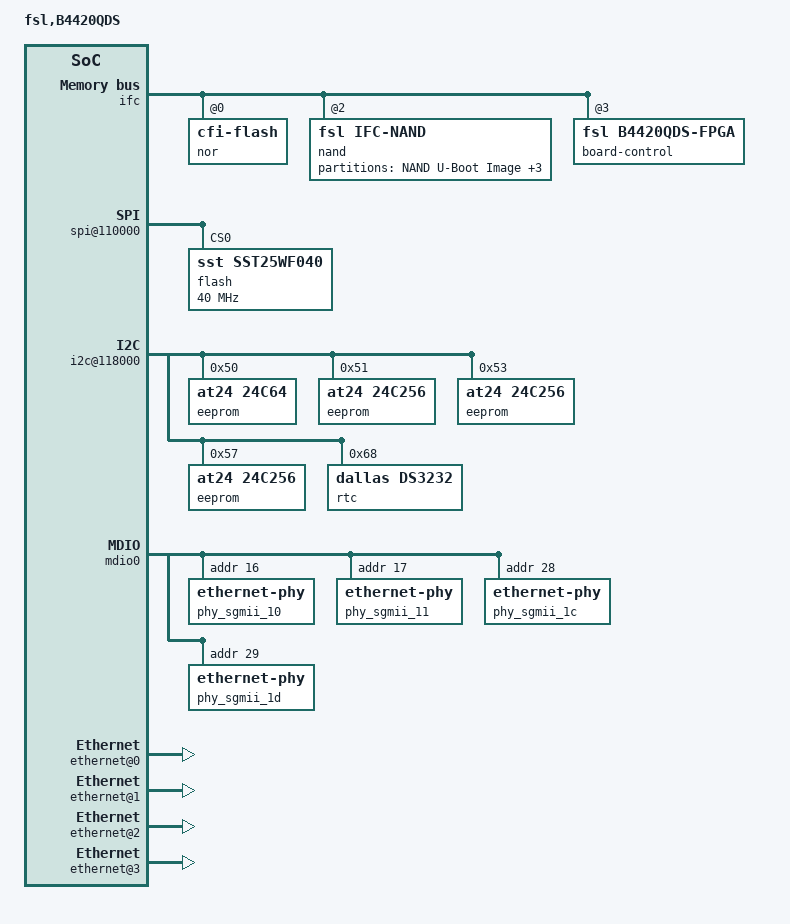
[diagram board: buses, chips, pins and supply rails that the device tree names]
/*
 * B4420DS Device Tree Source
 *
 * Copyright 2012 Freescale Semiconductor, Inc.
 *
 * Redistribution and use in source and binary forms, with or without
 * modification, are permitted provided that the following conditions are met:
 *     * Redistributions of source code must retain the above copyright
 *       notice, this list of conditions and the following disclaimer.
 *     * Redistributions in binary form must reproduce the above copyright
 *       notice, this list of conditions and the following disclaimer in the
 *       documentation and/or other materials provided with the distribution.
 *     * Neither the name of Freescale Semiconductor nor the
 *       names of its contributors may be used to endorse or promote products
 *       derived from this software without specific prior written permission.
 *
 *
 * ALTERNATIVELY, this software may be distributed under the terms of the
 * GNU General Public License ("GPL") as published by the Free Software
 * Foundation, either version 2 of that License or (at your option) any
 * later version.
 *
 * This software is provided by Freescale Semiconductor "as is" and any
 * express or implied warranties, including, but not limited to, the implied
 * warranties of merchantability and fitness for a particular purpose are
 * disclaimed. In no event shall Freescale Semiconductor be liable for any
 * direct, indirect, incidental, special, exemplary, or consequential damages
 * (including, but not limited to, procurement of substitute goods or services;
 * loss of use, data, or profits; or business interruption) however caused and
 * on any theory of liability, whether in contract, strict liability, or tort
 * (including negligence or otherwise) arising in any way out of the use of
 * this software, even if advised of the possibility of such damage.
 */

/include/ "fsl/b4420si-pre.dtsi"

/ {
	model = "fsl,B4420QDS";
	compatible = "fsl,B4420QDS";
	#address-cells = <2>;
	#size-cells = <2>;
	interrupt-parent = <&mpic>;

	aliases{
		ethernet0 = &fm1mac1;
		ethernet1 = &fm1mac2;
		ethernet2 = &fm1mac3;
		ethernet3 = &fm1mac4;

		phy_sgmii_10 = &phy_sgmii_10;
		phy_sgmii_11 = &phy_sgmii_11;
		phy_sgmii_1c = &phy_sgmii_1c;
		phy_sgmii_1d = &phy_sgmii_1d;
	};

	ifc: localbus@ffe124000 {
		reg = <0xf 0xfe124000 0 0x2000>;
		ranges = <0 0 0xf 0xe8000000 0x08000000
			  2 0 0xf 0xff800000 0x00010000
			  3 0 0xf 0xffdf0000 0x00008000>;

		nor@0,0 {
			#address-cells = <1>;
			#size-cells = <1>;
			compatible = "cfi-flash";
			reg = <0x0 0x0 0x8000000>;
			bank-width = <2>;
			device-width = <1>;
		};

		nand@2,0 {
			#address-cells = <1>;
			#size-cells = <1>;
			compatible = "fsl,ifc-nand";
			reg = <0x2 0x0 0x10000>;

			partition@0 {
				/* This location must not be altered  */
				/* 1MB for u-boot Bootloader Image */
				reg = <0x0 0x00100000>;
				label = "NAND U-Boot Image";
				read-only;
			};

			partition@100000 {
				/* 1MB for DTB Image */
				reg = <0x00100000 0x00100000>;
				label = "NAND DTB Image";
			};

			partition@200000 {
				/* 10MB for Linux Kernel Image */
				reg = <0x00200000 0x00A00000>;
				label = "NAND Linux Kernel Image";
			};

			partition@c00000 {
				/* 500MB for Root file System Image */
				reg = <0x00c00000 0x1F400000>;
				label = "NAND RFS Image";
			};
		};

		board-control@3,0 {
			compatible = "fsl,b4420qds-fpga", "fsl,fpga-qixis";
			reg = <3 0 0x300>;
		};
	};

	memory {
		device_type = "memory";
	};

	dcsr: dcsr@f00000000 {
		ranges = <0x00000000 0xf 0x00000000 0x01052000>;
	};

	bportals: bman-portals@ff4000000 {
		ranges = <0x0 0xf 0xf4000000 0x2000000>;
	};

	qportals: qman-portals@ff6000000 {
		ranges = <0x0 0xf 0xf6000000 0x2000000>;
	};

	soc: soc@ffe000000 {
		ranges = <0x00000000 0xf 0xfe000000 0x1000000>;
		reg = <0xf 0xfe000000 0 0x00001000>;
		spi@110000 {
			flash@0 {
				#address-cells = <1>;
				#size-cells = <1>;
				compatible = "sst,sst25wf040";
				reg = <0>;
				spi-max-frequency = <40000000>; /* input clock */
			};
		};

		sdhc@114000 {
			/*Disabled as there is no sdhc connector on B4420QDS board*/
			status = "disabled";
		};

		i2c@118000 {
			eeprom@50 {
				compatible = "at24,24c64";
				reg = <0x50>;
			};
			eeprom@51 {
				compatible = "at24,24c256";
				reg = <0x51>;
			};
			eeprom@53 {
				compatible = "at24,24c256";
				reg = <0x53>;
			};
			eeprom@57 {
				compatible = "at24,24c256";
				reg = <0x57>;
			};
			rtc@68 {
				compatible = "dallas,ds3232";
				reg = <0x68>;
				interrupts = <0x1 0x1 0 0>;
			};
		};

		usb@210000 {
			dr_mode = "host";
			phy_type = "ulpi";
		};

		fman0: fman@400000 {
			fm1mac1: ethernet@e0000 {
				phy-handle = <&phy_sgmii_10>;
				phy-connection-type = "sgmii";
			};
			fm1mac2: ethernet@e2000 {
				phy-handle = <&phy_sgmii_11>;
				phy-connection-type = "sgmii";
			};
			fm1mac3: ethernet@e4000 {
				phy-handle = <&phy_sgmii_1c>;
				phy-connection-type = "sgmii";
			};
			fm1mac4: ethernet@e6000 {
				phy-handle = <&phy_sgmii_1d>;
				phy-connection-type = "sgmii";
			};

			mdio0: mdio@fc000 {
				phy_sgmii_10: ethernet-phy@10 {
					reg = <0x10>;
				};
				phy_sgmii_11: ethernet-phy@11 {
					reg = <0x11>;
				};
				phy_sgmii_1c: ethernet-phy@1c {
					reg = <0x1c>;
				};
				phy_sgmii_1d: ethernet-phy@1d {
					reg = <0x1d>;
				};
			};
		};
	};

	pci0: pcie@ffe200000 {
		reg = <0xf 0xfe200000 0 0x10000>;
		ranges = <0x02000000 0 0xe0000000 0xc 0x00000000 0x0 0x20000000
			  0x01000000 0 0x00000000 0xf 0xf8000000 0x0 0x00010000>;
		pcie@0 {
			ranges = <0x02000000 0 0xe0000000
				  0x02000000 0 0xe0000000
				  0 0x20000000

				  0x01000000 0 0x00000000
				  0x01000000 0 0x00000000
				  0 0x00010000>;
		};
	};

	fsl,dpaa {
		compatible = "fsl,b4420-dpaa", "fsl,dpaa";
		ethernet@0 {
			compatible = "fsl,b4420-dpa-ethernet", "fsl,dpa-ethernet";
			fsl,fman-mac = <&fm1mac1>;
		};
		ethernet@1 {
			compatible = "fsl,b4420-dpa-ethernet", "fsl,dpa-ethernet";
			fsl,fman-mac = <&fm1mac2>;
		};
		ethernet@2 {
			compatible = "fsl,b4420-dpa-ethernet", "fsl,dpa-ethernet";
			fsl,fman-mac = <&fm1mac3>;
		};
		ethernet@3 {
			compatible = "fsl,b4420-dpa-ethernet", "fsl,dpa-ethernet";
			fsl,fman-mac = <&fm1mac4>;
		};
	};
};

/include/ "fsl/b4420si-post.dtsi"
/include/ "fsl/qoriq-dpaa-res3.dtsi"
